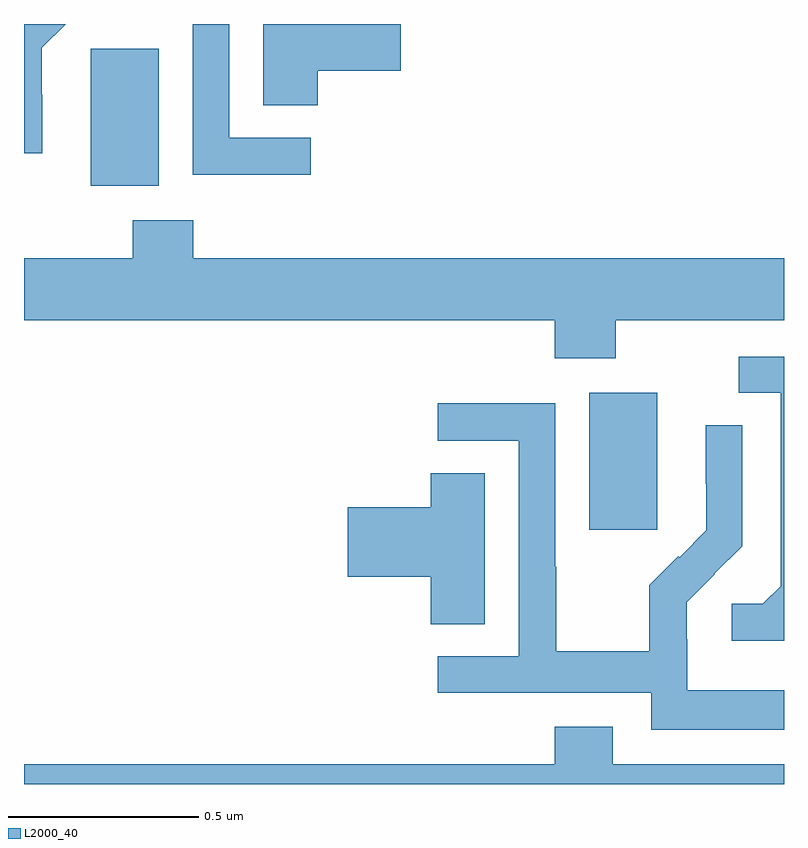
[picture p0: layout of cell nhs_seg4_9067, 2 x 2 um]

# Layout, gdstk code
import gdstk
lib = gdstk.Library(unit=1e-6, precision=1e-09)
def R(c, l, rs):  # rectangles x0, y0, x1, y1
    for r in rs: c.add(gdstk.rectangle(r[:2], r[2:], *l))
def P(c, l, *ps):  # polygons
    for p in ps: c.add(gdstk.Polygon(p, *l))
L2000_40 = (2000, 40)

nhs_seg4_9067 = lib.new_cell('nhs_seg4_9067')
R(nhs_seg4_9067, L2000_40, [(223.487,829.569,223.666,829.93), (222.176,830.474,222.355,830.835)])
P(nhs_seg4_9067, L2000_40, [(222.773,830.777),(222.991,830.777),(222.991,830.9),(222.629,830.9),(222.629,830.686),(222.773,830.686)],
  [(222.048,830.714),(222.047,830.714),(222.047,830.837),(222.11,830.9),(222,830.9),(222,830.56),(222.048,830.56)],
  [(222.754,830.601),(222.54,830.601),(222.54,830.9),(222.444,830.9),(222.444,830.503),(222.754,830.503)],
  [(223.557,830.12),(224,830.12),(224,830.284),(222.446,830.284),(222.446,830.383),(222.286,830.383),(222.286,830.284),(222,830.284),(222,830.12),(223.397,830.12),(223.397,830.021),(223.557,830.021)],
  [(224,830.025),(223.881,830.025),(223.881,829.929),(223.991,829.929),(223.991,829.421),(223.944,829.374),(223.863,829.374),(223.863,829.277),(224,829.277)],
  [(224,829.147),(223.746,829.147),(223.746,829.281),(223.744,829.281),(223.744,829.378),(223.818,829.452),(223.817,829.453),(223.89,829.526),(223.89,829.844),(223.794,829.844),(223.794,829.69),(223.796,829.69),(223.796,829.568),(223.725,829.497),(223.722,829.5),(223.645,829.423),(223.645,829.249),(223.401,829.249),(223.401,829.472),(223.398,829.472),(223.398,829.902),(223.089,829.902),(223.089,829.803),(223.302,829.803),(223.302,829.236),(223.089,829.236),(223.089,829.14),(223.65,829.14),(223.65,829.043),(224,829.043)],
  [(223.213,829.718),(223.07,829.718),(223.07,829.628),(222.852,829.628),(222.852,829.445),(223.07,829.445),(223.07,829.321),(223.213,829.321)],
  [(224,828.952),(223.549,828.952),(223.549,829.051),(223.397,829.051),(223.397,828.952),(222,828.952),(222,828.9),(224,828.9)])

lib.write_gds('nhs_seg4_9067.gds')
